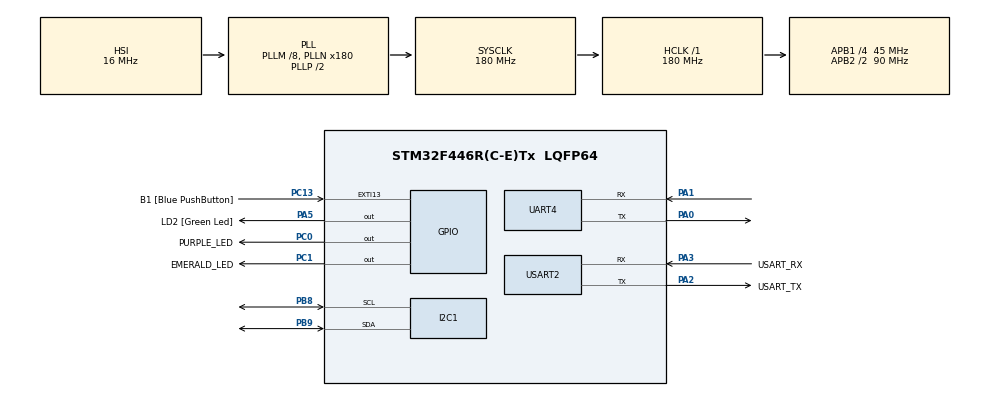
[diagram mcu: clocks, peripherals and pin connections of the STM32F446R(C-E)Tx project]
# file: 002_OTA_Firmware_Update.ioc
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Dma.Request0=UART4_RX
Dma.UART4_RX.0.Direction=DMA_PERIPH_TO_MEMORY
Dma.UART4_RX.0.FIFOMode=DMA_FIFOMODE_DISABLE
Dma.UART4_RX.0.Instance=DMA1_Stream2
Dma.UART4_RX.0.MemDataAlignment=DMA_MDATAALIGN_BYTE
Dma.UART4_RX.0.MemInc=DMA_MINC_ENABLE
Dma.UART4_RX.0.Mode=DMA_CIRCULAR
Dma.UART4_RX.0.PeriphDataAlignment=DMA_PDATAALIGN_BYTE
Dma.UART4_RX.0.PeriphInc=DMA_PINC_DISABLE
Dma.UART4_RX.0.Priority=DMA_PRIORITY_LOW
Mcu.Family=STM32F4
Mcu.Name=STM32F446R(C-E)Tx
Mcu.Package=LQFP64
NVIC.DMA1_Stream2_IRQn=true\:0\:0\:false\:false\:true\:false\:true\:true
NVIC.PriorityGroup=NVIC_PRIORITYGROUP_4
NVIC.TIM6_DAC_IRQn=true\:15\:0\:false\:false\:true\:false\:true\:true
NVIC.TimeBase=TIM6_DAC_IRQn
NVIC.TimeBaseIP=TIM6
NVIC.UART4_IRQn=true\:0\:0\:false\:false\:true\:true\:true\:true
PA0-WKUP.Mode=Asynchronous
PA0-WKUP.Signal=UART4_TX
PA1.Mode=Asynchronous
PA1.Signal=UART4_RX
PA13.GPIO_Label=TMS
PA13.Mode=Trace_Asynchronous_SW
PA13.Signal=SYS_JTMS-SWDIO
PA14.GPIO_Label=TCK
PA14.Mode=Trace_Asynchronous_SW
PA14.Signal=SYS_JTCK-SWCLK
PA2.GPIO_Label=USART_TX
PA2.Mode=Asynchronous
PA2.Signal=USART2_TX
PA3.GPIO_Label=USART_RX
PA3.Mode=Asynchronous
PA3.Signal=USART2_RX
PA5.GPIO_Label=LD2 [Green Led]
PA5.Signal=GPIO_Output
PB3.GPIO_Label=SWO
PB3.Mode=Trace_Asynchronous_SW
PB3.Signal=SYS_JTDO-SWO
PB8.GPIO_Pu=GPIO_PULLUP
PB8.Mode=I2C
PB8.Signal=I2C1_SCL
PB9.GPIO_Pu=GPIO_PULLUP
PB9.Mode=I2C
PB9.Signal=I2C1_SDA
PC0.GPIO_Label=PURPLE_LED
PC0.Signal=GPIO_Output
PC1.GPIO_Label=EMERALD_LED
PC1.Signal=GPIO_Output
PC13.GPIO_Label=B1 [Blue PushButton]
PC13.GPIO_ModeDefaultEXTI=GPIO_MODE_IT_FALLING
PC13.Signal=GPXTI13
PC14-OSC32_IN.Mode=LSE-External-Oscillator
PC14-OSC32_IN.Signal=RCC_OSC32_IN
PC15-OSC32_OUT.Mode=LSE-External-Oscillator
PC15-OSC32_OUT.Signal=RCC_OSC32_OUT
PH0-OSC_IN.Mode=HSE-External-Oscillator
PH0-OSC_IN.Signal=RCC_OSC_IN
PH1-OSC_OUT.Mode=HSE-External-Oscillator
PH1-OSC_OUT.Signal=RCC_OSC_OUT
ProjectManager.HeapSize=0x300
ProjectManager.StackSize=0x600
ProjectManager.TargetToolchain=STM32CubeIDE
RCC.48MHZClocksFreq_Value=84000000
RCC.AHBFreq_Value=180000000
RCC.APB1CLKDivider=RCC_HCLK_DIV4
RCC.APB1Freq_Value=45000000
RCC.APB1TimFreq_Value=90000000
RCC.APB2CLKDivider=RCC_HCLK_DIV2
RCC.APB2Freq_Value=90000000
RCC.APB2TimFreq_Value=180000000
RCC.CortexFreq_Value=180000000
RCC.FLatency-AdvancedSettings=FLASH_LATENCY_5
RCC.HCLKFreq_Value=180000000
RCC.HSE_VALUE=8000000
RCC.HSI_VALUE=16000000
RCC.PLLM=8
RCC.PLLN=180
RCC.SYSCLKFreq_VALUE=180000000
RCC.SYSCLKSource=RCC_SYSCLKSOURCE_PLLCLK
RCC.USBFreq_Value=180000000
RCC.VCOOutputFreq_Value=360000000
UART4.VirtualMode=Asynchronous
USART2.VirtualMode=VM_ASYNC
VP_SYS_VS_tim6.Mode=TIM6
board=NUCLEO-F446RE

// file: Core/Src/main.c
/* USER CODE BEGIN Header */
/**
 ******************************************************************************
 * @file           : main.c
 * @brief          : Main program body
 ******************************************************************************
 * @attention
 *
 * Copyright (c) 2025 STMicroelectronics.
 * All rights reserved.
 *
 * This software is licensed under terms that can be found in the LICENSE file
 * in the root directory of this software component.
 * If no LICENSE file comes with this software, it is provided AS-IS.
 *
 ******************************************************************************
 */
/* USER CODE END Header */
#include "main.h"

/* USER CODE BEGIN Includes */
#include "esp32_at.h"
#include "sensor_util.h"
#include "mqtt_helper.h"
#include "FreeRTOS.h"
#include "task.h"
#include "queue.h"
#include "application_config.h"
#include "ota_application.h"
#include "semphr.h"
/* USER CODE END Includes */

I2C_HandleTypeDef hi2c1;

UART_HandleTypeDef huart4;
UART_HandleTypeDef huart2;
DMA_HandleTypeDef hdma_uart4_rx;

/* USER CODE BEGIN PV */

QueueHandle_t mqtt_tx_queue;
QueueHandle_t mqtt_rx_queue;

/* USER CODE END PV */

void SystemClock_Config(void);
static void MX_GPIO_Init(void);
static void MX_DMA_Init(void);
static void MX_USART2_UART_Init(void);
static void MX_UART4_Init(void);
static void MX_I2C1_Init(void);

/* USER CODE BEGIN 0 */

int _write(int file, char *ptr, int len) {
  HAL_UART_Transmit(&huart2, (uint8_t*) ptr, len, HAL_MAX_DELAY);
  return len;
}

/**
 * @brief OTA Task
 */
static void ota_task(void *pvParameters) {
  (void) pvParameters;

  OTA_Status_t rc = ota_start();

  if (rc != OTA_SUCCESS) {
    LogError(("OTA start failed: %d", rc));
    /* TODO: notify a supervisor task or set an event here if needed */
  } else {
    LogInfo(("OTA start succeeded"));
  }

  vTaskDelete( NULL);
}

// this task receives unsolicited MQTT messages from the AWS server
void mqtt_receive_task(void *parameters) {
  mqtt_queue_item_t item = { 0 };

  while (1) {
    BaseType_t rc = xQueueReceive(mqtt_rx_queue, &item, portMAX_DELAY);

    configASSERT(rc == pdPASS);

    // Check if both topic and payload contain valid data
    if (item.operation == MQTT_OPERATION_RECEIVE && item.topic_length > 0
        && item.payload_length > 0) {
      // Extract topic and payload
      const char *topic = item.topic;
      size_t topic_len = item.topic_length;
      const uint8_t *payload = item.payload;
      size_t payload_len = item.payload_length;

      // Pass to OTA handler
      bool message_handled = ota_handle_incoming_mqtt_message((char*) topic,
          topic_len, (char*) payload, payload_len);

      if (!message_handled) {
        LogError(
            ("mqtt_receive_task: unhandled message on %.*s", (int)topic_len, topic));
      }
    } else {
      LogWarn(
          ("mqtt_receive_task: op=%d ignored or empty message", item.operation));
    }
  }
}

void at_cmd_handle_task(void *parameters) {
  (void) parameters;

  mqtt_queue_item_t tx_item, rx_item = { 0 };
  mqtt_status_t mqtt_result = MQTT_ERROR;
  mqtt_receive_t incoming_data = { 0 };

  /* Static buffers reused for every incoming MQTT frame */
  static char topic_buf[MAX_MQTT_TOPIC_SIZE] = { 0 };
  static char payload_buf[MAX_MQTT_PAYLOAD_SIZE] = { 0 };

  incoming_data.p_payload = payload_buf;
  incoming_data.p_topic = topic_buf;
  incoming_data.topic_length = 0;
  incoming_data.payload_length = 0;

  for (;;) {
    /* 1. De-queue MQTT TX queue */
    if (xQueueReceive(mqtt_tx_queue, &tx_item, 0) == pdPASS) {
      if (tx_item.operation == MQTT_OPERATION_PUBLISH) {
        /* 2. Issue MQTT PUBLISH via AT command */
        mqtt_result = mqtt_publish(tx_item.topic, tx_item.topic_length,
            tx_item.payload, tx_item.payload_length);

        if (mqtt_result == MQTT_SUCCESS) {
          LogInfo(
              ("MQTT Publish successful: Topic='%.*s', \r\nPayload='%.*s'", (int)tx_item.topic_length, tx_item.topic, (int)tx_item.payload_length, (char *)tx_item.payload));
        } else {
          LogError(
              ("MQTT Publish failed: Topic='%.*s'", (int)tx_item.topic_length, tx_item.topic));
        }
      } else if (tx_item.operation == MQTT_OPERATION_SUBSCRIBE) {
        /* 2. Issue MQTT SUBSCRIBE via AT command */
        mqtt_result = mqtt_subscribe(tx_item.topic, tx_item.topic_length);

        if (mqtt_result == MQTT_SUCCESS) {
          LogInfo(
              ("MQTT Subscribe successful: Topic='%.*s'", (int)tx_item.topic_length, tx_item.topic));
        } else {
          LogError(
              ("MQTT Subscribe failed: Topic='%.*s'", (int)tx_item.topic_length, tx_item.topic));
        }
      }
    }

    /* 3. Check for unsolicited MQTT data from ESP32 */
    esp32_status_t esp32_result = esp32_recv_mqtt_data(&incoming_data);

    if (incoming_data.topic_length >= sizeof(rx_item.topic)
        && incoming_data.payload_length >= sizeof(rx_item.payload)) {
      LogError(("ESP32 frame too large – discarded"));
      continue;
    }

    if (esp32_result != ESP32_ERROR && incoming_data.payload_length > 0
        && incoming_data.topic_length > 0) {
      rx_item.operation = MQTT_OPERATION_RECEIVE;
      rx_item.payload_length = incoming_data.payload_length;
      rx_item.topic_length = incoming_data.topic_length;

      memcpy(rx_item.payload, incoming_data.p_payload,
          incoming_data.payload_length);
      memcpy(rx_item.topic, incoming_data.p_topic, incoming_data.topic_length);

      if (xQueueSend(mqtt_rx_queue, &rx_item, 0) == pdPASS) {
        LogInfo(
            ("Queued MQTT receive: Topic='%.*s', \r\nPayload='%.*s'", (int)rx_item.topic_length, rx_item.topic, (int)rx_item.payload_length, rx_item.payload));
      }
    }
  }
}

/* USER CODE END 0 */

int main(void)
{

  /* MCU Configuration--------------------------------------------------------*/

  /* Reset of all peripherals, Initializes the Flash interface and the Systick. */
  HAL_Init();

  /* Configure the system clock */
  SystemClock_Config();

  /* Initialize all configured peripherals */
  MX_GPIO_Init();
  MX_DMA_Init();
  MX_USART2_UART_Init();
  MX_UART4_Init();
  MX_I2C1_Init();
  /* USER CODE BEGIN 2 */
  /* Step 1:Initialize the ESP32 Wi-Fi module */
  LogInfo(("Initializing Wi-Fi module..."));
  if (esp32_init() != ESP32_OK) {
    LogError(("Failed to initialize Wi-Fi module."));
    Error_Handler();
  }
  LogInfo(("Wi-Fi module initialized successfully.\n"));

  /* Step 2: Connect to Wi-Fi network*/
  LogInfo(("Joining Access Point: '%s' ...", WIFI_SSID));
  /* Keep attempting to connect to the specified Wi-Fi access point until
   * successful */
  while (esp32_join_ap((uint8_t*) WIFI_SSID, (uint8_t*) WIFI_PASSWORD)
      != ESP32_OK) {
    LogInfo(("Retrying to join Access Point: %s", WIFI_SSID));
  }
  LogInfo(("Successfully joined Access Point: %s", WIFI_SSID));

  /* Step 3: Configure SNTP for time synchronization */
  /* Configure Simple Network Time Protocol (SNTP) with a specified server */
  if (esp32_config_sntp(UTC_OFFSET) != ESP32_OK) {
    LogError(("Failed to configure SNTP."));
    Error_Handler();
  }
  LogInfo(("SNTP configured !"));

  /* Retrieve the current time from SNTP */
  sntp_time_t sntp_time;
  if (esp32_get_sntp_time(&sntp_time) != ESP32_OK) {
    LogError(("Failed to retrieve current time from SNTP."));
    Error_Handler();
  }
  LogInfo(
      ("SNTP time retrieved: %s, %02d %s %04d %02d:%02d:%02d", sntp_time.day, sntp_time.date, sntp_time.month, sntp_time.year, sntp_time.hour, sntp_time.min, sntp_time.sec));

  /*  Step 4: Configure the MQTT client and establish the connection */
  LogInfo(("Connecting to MQTT broker....."));
  if (mqtt_connect(CLIENT_ID, MQTT_BROKER, MQTT_PORT) != MQTT_SUCCESS) {
    LogError(("MQTT connection failed."));
    Error_Handler();
  }
  LogInfo(("Successfully connected to MQTT broker"));

  /* Create queues */
  mqtt_tx_queue = xQueueCreate(5, sizeof(mqtt_queue_item_t));
  mqtt_rx_queue = xQueueCreate(5, sizeof(mqtt_queue_item_t));
  if (mqtt_tx_queue == NULL || mqtt_rx_queue == NULL) {
    LogError(("Queue creation failed."));
    Error_Handler();
  } else {
    LogInfo(("MQTT TX and RX queues created successfully."));
  }

  //create 3 freertos tasks

  BaseType_t status;

  status = xTaskCreate(ota_task, "OTA start", 128, NULL, 2, NULL);
  configASSERT(status == pdPASS);

  status = xTaskCreate(mqtt_receive_task, "Receive sensor data", 2048,
  NULL, 2, NULL);
  configASSERT(status == pdPASS);

  status = xTaskCreate(at_cmd_handle_task, "MQTT send and receive", 2048, NULL,
      1, NULL);
  configASSERT(status == pdPASS);

  vTaskStartScheduler();

  /* USER CODE END 2 */

  /* Infinite loop */
  while (1) {

  }
}

void SystemClock_Config(void)
{
  RCC_OscInitTypeDef RCC_OscInitStruct = {0};
  RCC_ClkInitTypeDef RCC_ClkInitStruct = {0};

  /** Configure the main internal regulator output voltage
  */
  __HAL_RCC_PWR_CLK_ENABLE();
  __HAL_PWR_VOLTAGESCALING_CONFIG(PWR_REGULATOR_VOLTAGE_SCALE1);

  /** Initializes the RCC Oscillators according to the specified parameters
  * in the RCC_OscInitTypeDef structure.
  */
  RCC_OscInitStruct.OscillatorType = RCC_OSCILLATORTYPE_HSI;
  RCC_OscInitStruct.HSIState = RCC_HSI_ON;
  RCC_OscInitStruct.HSICalibrationValue = RCC_HSICALIBRATION_DEFAULT;
  RCC_OscInitStruct.PLL.PLLState = RCC_PLL_ON;
  RCC_OscInitStruct.PLL.PLLSource = RCC_PLLSOURCE_HSI;
  RCC_OscInitStruct.PLL.PLLM = 8;
  RCC_OscInitStruct.PLL.PLLN = 180;
  RCC_OscInitStruct.PLL.PLLP = RCC_PLLP_DIV2;
  RCC_OscInitStruct.PLL.PLLQ = 2;
  RCC_OscInitStruct.PLL.PLLR = 2;
  if (HAL_RCC_OscConfig(&RCC_OscInitStruct) != HAL_OK)
  {
    Error_Handler();
  }

  /** Activate the Over-Drive mode
  */
  if (HAL_PWREx_EnableOverDrive() != HAL_OK)
  {
    Error_Handler();
  }

  /** Initializes the CPU, AHB and APB buses clocks
  */
  RCC_ClkInitStruct.ClockType = RCC_CLOCKTYPE_HCLK|RCC_CLOCKTYPE_SYSCLK
                              |RCC_CLOCKTYPE_PCLK1|RCC_CLOCKTYPE_PCLK2;
  RCC_ClkInitStruct.SYSCLKSource = RCC_SYSCLKSOURCE_PLLCLK;
  RCC_ClkInitStruct.AHBCLKDivider = RCC_SYSCLK_DIV1;
  RCC_ClkInitStruct.APB1CLKDivider = RCC_HCLK_DIV4;
  RCC_ClkInitStruct.APB2CLKDivider = RCC_HCLK_DIV2;

  if (HAL_RCC_ClockConfig(&RCC_ClkInitStruct, FLASH_LATENCY_5) != HAL_OK)
  {
    Error_Handler();
  }
}

static void MX_I2C1_Init(void)
{

  hi2c1.Instance = I2C1;
  hi2c1.Init.ClockSpeed = 100000;
  hi2c1.Init.DutyCycle = I2C_DUTYCYCLE_2;
  hi2c1.Init.OwnAddress1 = 0;
  hi2c1.Init.AddressingMode = I2C_ADDRESSINGMODE_7BIT;
  hi2c1.Init.DualAddressMode = I2C_DUALADDRESS_DISABLE;
  hi2c1.Init.OwnAddress2 = 0;
  hi2c1.Init.GeneralCallMode = I2C_GENERALCALL_DISABLE;
  hi2c1.Init.NoStretchMode = I2C_NOSTRETCH_DISABLE;
  if (HAL_I2C_Init(&hi2c1) != HAL_OK)
  {
    Error_Handler();
  }

}

static void MX_UART4_Init(void)
{

  huart4.Instance = UART4;
  huart4.Init.BaudRate = 115200;
  huart4.Init.WordLength = UART_WORDLENGTH_8B;
  huart4.Init.StopBits = UART_STOPBITS_1;
  huart4.Init.Parity = UART_PARITY_NONE;
  huart4.Init.Mode = UART_MODE_TX_RX;
  huart4.Init.HwFlowCtl = UART_HWCONTROL_NONE;
  huart4.Init.OverSampling = UART_OVERSAMPLING_16;
  if (HAL_UART_Init(&huart4) != HAL_OK)
  {
    Error_Handler();
  }

}

static void MX_USART2_UART_Init(void)
{

  huart2.Instance = USART2;
  huart2.Init.BaudRate = 115200;
  huart2.Init.WordLength = UART_WORDLENGTH_8B;
  huart2.Init.StopBits = UART_STOPBITS_1;
  huart2.Init.Parity = UART_PARITY_NONE;
  huart2.Init.Mode = UART_MODE_TX_RX;
  huart2.Init.HwFlowCtl = UART_HWCONTROL_NONE;
  huart2.Init.OverSampling = UART_OVERSAMPLING_16;
  if (HAL_UART_Init(&huart2) != HAL_OK)
  {
    Error_Handler();
  }

}

static void MX_DMA_Init(void)
{

  /* DMA controller clock enable */
  __HAL_RCC_DMA1_CLK_ENABLE();

  /* DMA interrupt init */
  /* DMA1_Stream2_IRQn interrupt configuration */
  HAL_NVIC_SetPriority(DMA1_Stream2_IRQn, 0, 0);
  HAL_NVIC_EnableIRQ(DMA1_Stream2_IRQn);

}

static void MX_GPIO_Init(void)
{
  GPIO_InitTypeDef GPIO_InitStruct = {0};

  /* GPIO Ports Clock Enable */
  __HAL_RCC_GPIOC_CLK_ENABLE();
  __HAL_RCC_GPIOH_CLK_ENABLE();
  __HAL_RCC_GPIOA_CLK_ENABLE();
  __HAL_RCC_GPIOB_CLK_ENABLE();

  /*Configure GPIO pin Output Level */
  HAL_GPIO_WritePin(GPIOC, PURPLE_LED_Pin|EMERALD_LED_Pin, GPIO_PIN_RESET);

  /*Configure GPIO pin Output Level */
  HAL_GPIO_WritePin(LD2_GPIO_Port, LD2_Pin, GPIO_PIN_RESET);

  /*Configure GPIO pin : B1_Pin */
  GPIO_InitStruct.Pin = B1_Pin;
  GPIO_InitStruct.Mode = GPIO_MODE_IT_FALLING;
  GPIO_InitStruct.Pull = GPIO_NOPULL;
  HAL_GPIO_Init(B1_GPIO_Port, &GPIO_InitStruct);

  /*Configure GPIO pins : PURPLE_LED_Pin EMERALD_LED_Pin */
  GPIO_InitStruct.Pin = PURPLE_LED_Pin|EMERALD_LED_Pin;
  GPIO_InitStruct.Mode = GPIO_MODE_OUTPUT_PP;
  GPIO_InitStruct.Pull = GPIO_NOPULL;
  GPIO_InitStruct.Speed = GPIO_SPEED_FREQ_LOW;
  HAL_GPIO_Init(GPIOC, &GPIO_InitStruct);

  /*Configure GPIO pin : LD2_Pin */
  GPIO_InitStruct.Pin = LD2_Pin;
  GPIO_InitStruct.Mode = GPIO_MODE_OUTPUT_PP;
  GPIO_InitStruct.Pull = GPIO_NOPULL;
  GPIO_InitStruct.Speed = GPIO_SPEED_FREQ_LOW;
  HAL_GPIO_Init(LD2_GPIO_Port, &GPIO_InitStruct);

}

void HAL_TIM_PeriodElapsedCallback(TIM_HandleTypeDef *htim)
{
  if (htim->Instance == TIM6)
  {
    HAL_IncTick();
  }
}

void Error_Handler(void)
{
    __disable_irq();
    while (1) {
    }
}
#ifdef USE_FULL_ASSERT
/**
  * @brief  Reports the name of the source file and the source line number
  *         where the assert_param error has occurred.
  * @param  file: pointer to the source file name
  * @param  line: assert_param error line source number
  * @retval None
  */
void assert_failed(uint8_t *file, uint32_t line)
{
  /* USER CODE BEGIN 6 */
  /* User can add his own implementation to report the file name and line
     number,
     ex: printf("Wrong parameters value: file %s on line %d\r\n", file, line) */
  /* USER CODE END 6 */
}
#endif /* USE_FULL_ASSERT */
